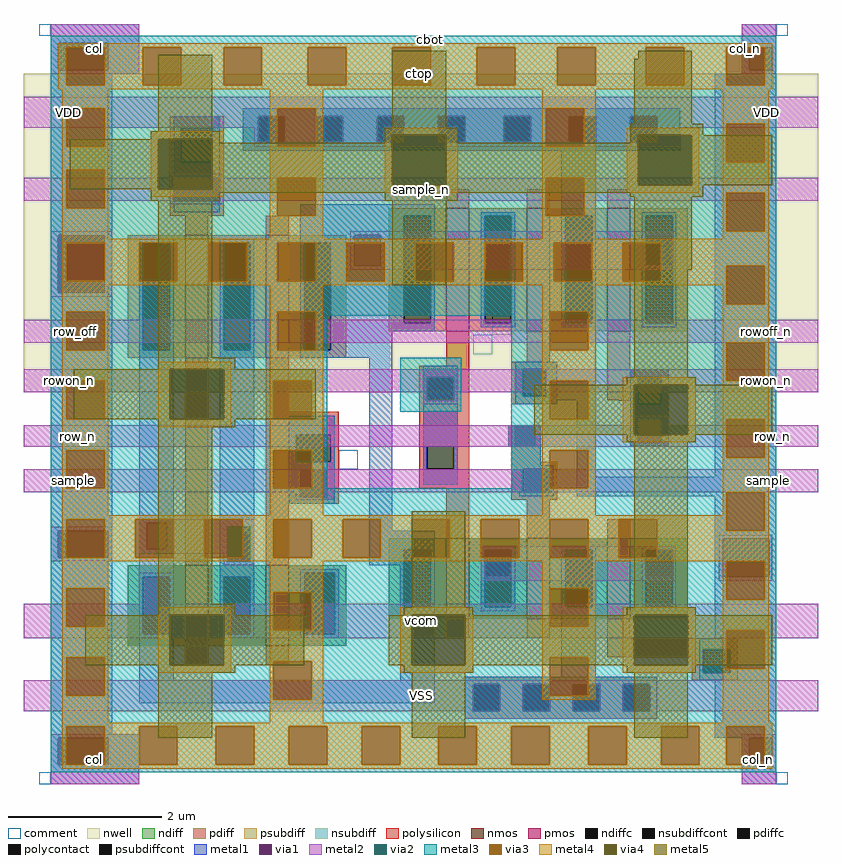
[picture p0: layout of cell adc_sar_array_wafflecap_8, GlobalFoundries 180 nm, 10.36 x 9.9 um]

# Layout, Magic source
magic
tech gf180mcuD
magscale 1 10
<< nwell >>
rect -1000 -190 1070 640
<< nmos >>
rect -580 -850 -520 -640
rect -370 -850 -310 -640
rect 100 -780 160 -570
rect 310 -780 370 -570
rect 520 -780 580 -570
<< pmos >>
rect -580 -100 -520 220
rect -370 -100 -310 220
rect 100 -30 160 290
rect 310 -30 370 290
rect 520 -30 580 290
<< ndiff >>
rect -50 -600 100 -570
rect -730 -670 -580 -640
rect -730 -820 -690 -670
rect -620 -820 -580 -670
rect -730 -850 -580 -820
rect -520 -670 -370 -640
rect -520 -820 -480 -670
rect -410 -820 -370 -670
rect -520 -850 -370 -820
rect -310 -660 -160 -640
rect -310 -820 -270 -660
rect -190 -820 -160 -660
rect -50 -750 -10 -600
rect 60 -750 100 -600
rect -50 -780 100 -750
rect 160 -600 310 -570
rect 160 -750 200 -600
rect 270 -750 310 -600
rect 160 -780 310 -750
rect 370 -600 520 -570
rect 370 -750 410 -600
rect 480 -750 520 -600
rect 370 -780 520 -750
rect 580 -600 730 -570
rect 580 -750 620 -600
rect 690 -750 730 -600
rect 580 -780 730 -750
rect -310 -850 -160 -820
<< pdiff >>
rect -50 270 100 290
rect -730 200 -580 220
rect -730 -80 -690 200
rect -620 -80 -580 200
rect -730 -100 -580 -80
rect -520 200 -370 220
rect -520 -80 -480 200
rect -410 -80 -370 200
rect -520 -100 -370 -80
rect -310 200 -160 220
rect -310 -80 -270 200
rect -200 -80 -160 200
rect -50 -10 -10 270
rect 60 -10 100 270
rect -50 -30 100 -10
rect 160 270 310 290
rect 160 -10 200 270
rect 270 -10 310 270
rect 160 -30 310 -10
rect 370 270 520 290
rect 370 -10 410 270
rect 480 -10 520 270
rect 370 -30 520 -10
rect 580 270 730 290
rect 580 -10 620 270
rect 690 -10 730 270
rect 580 -30 730 -10
rect -310 -100 -160 -80
<< ndiffc >>
rect -690 -820 -620 -670
rect -480 -820 -410 -670
rect -270 -820 -190 -660
rect -10 -750 60 -600
rect 200 -750 270 -600
rect 410 -750 480 -600
rect 620 -750 690 -600
<< pdiffc >>
rect -690 -80 -620 200
rect -480 -80 -410 200
rect -270 -80 -200 200
rect -10 -10 60 270
rect 200 -10 270 270
rect 410 -10 480 270
rect 620 -10 690 270
<< psubdiff >>
rect 150 -950 650 -930
rect 150 -1020 170 -950
rect 240 -1020 300 -950
rect 370 -1020 430 -950
rect 500 -1020 560 -950
rect 630 -1020 650 -950
rect 150 -1040 650 -1020
<< nsubdiff >>
rect -430 530 710 550
rect -430 460 -390 530
rect -320 460 -240 530
rect -170 460 -80 530
rect -10 460 80 530
rect 150 460 250 530
rect 320 460 420 530
rect 490 460 580 530
rect 650 460 710 530
rect -430 440 710 460
<< psubdiffcont >>
rect 170 -1020 240 -950
rect 300 -1020 370 -950
rect 430 -1020 500 -950
rect 560 -1020 630 -950
<< nsubdiffcont >>
rect -390 460 -320 530
rect -240 460 -170 530
rect -80 460 -10 530
rect 80 460 150 530
rect 250 460 320 530
rect 420 460 490 530
rect 580 460 650 530
<< polysilicon >>
rect -620 500 -480 530
rect -620 410 -590 500
rect -510 410 -480 500
rect -620 270 -480 410
rect 100 290 160 340
rect 310 290 370 340
rect 520 290 580 340
rect -580 220 -520 270
rect -370 220 -310 270
rect -910 70 -790 220
rect -580 -640 -520 -100
rect -370 -240 -310 -100
rect 100 -120 160 -30
rect 310 -110 370 -30
rect 30 -150 160 -120
rect 30 -210 50 -150
rect 120 -210 160 -150
rect -370 -300 -180 -240
rect -370 -370 -290 -300
rect -200 -370 -180 -300
rect -370 -480 -180 -370
rect 30 -330 160 -210
rect 270 -130 390 -110
rect 270 -200 300 -130
rect 360 -200 390 -130
rect 270 -220 390 -200
rect 520 -130 580 -30
rect 520 -150 680 -130
rect 520 -210 600 -150
rect 551 -211 600 -210
rect 580 -220 600 -211
rect 660 -220 680 -150
rect 30 -390 50 -330
rect 120 -390 160 -330
rect 262 -332 346 -276
rect 580 -330 680 -220
rect 30 -440 160 -390
rect -370 -640 -310 -480
rect 100 -570 160 -440
rect 270 -370 346 -332
rect 270 -390 390 -370
rect 270 -450 300 -390
rect 370 -450 390 -390
rect 270 -470 390 -450
rect 310 -570 370 -470
rect 520 -570 580 -520
rect 100 -830 160 -780
rect 310 -830 370 -780
rect 520 -830 580 -780
rect -580 -900 -520 -850
rect -370 -900 -310 -850
rect 520 -860 860 -830
rect 520 -880 770 -860
rect 740 -920 770 -880
rect 840 -920 860 -860
rect 740 -940 860 -920
<< polycontact >>
rect -590 410 -510 500
rect 50 -210 120 -150
rect -290 -370 -200 -300
rect 300 -200 360 -130
rect 600 -220 660 -150
rect 50 -390 120 -330
rect 300 -450 370 -390
rect 770 -920 840 -860
<< metal1 >>
rect -930 720 -700 770
rect -930 650 -910 720
rect -780 650 -700 720
rect -930 640 -700 650
rect 870 710 960 770
rect 870 650 890 710
rect 950 650 960 710
rect 870 640 960 650
rect -930 220 -770 640
rect -430 530 710 550
rect -610 500 -490 530
rect -610 410 -590 500
rect -510 410 -490 500
rect -430 460 -390 530
rect -320 460 -240 530
rect -170 460 -80 530
rect -10 460 80 530
rect 150 460 250 530
rect 320 460 420 530
rect 490 460 580 530
rect 650 460 710 530
rect -430 440 710 460
rect -610 370 -490 410
rect -610 280 -490 310
rect -930 70 -910 220
rect -790 70 -770 220
rect -280 270 70 300
rect -280 220 -10 270
rect -930 -550 -770 70
rect -930 -620 -910 -550
rect -780 -620 -770 -550
rect -700 200 -610 210
rect -700 -80 -690 200
rect -620 -80 -610 200
rect -700 -530 -610 -80
rect -700 -599 -680 -530
rect -628 -599 -610 -530
rect -700 -610 -610 -599
rect -490 200 -400 210
rect -490 -80 -480 200
rect -410 -80 -400 200
rect -490 -560 -400 -80
rect -280 200 -140 220
rect -280 -80 -270 200
rect -200 140 -140 200
rect -70 140 -10 220
rect -200 -10 -10 140
rect 60 -10 70 270
rect -200 -30 70 -10
rect 190 270 280 280
rect 190 -10 200 270
rect 270 -10 280 270
rect 190 -20 280 -10
rect 400 270 490 440
rect 400 -10 410 270
rect 480 -10 490 270
rect 400 -20 490 -10
rect 610 270 700 280
rect 610 -10 620 270
rect 690 -10 700 270
rect 610 -20 700 -10
rect -200 -80 -40 -30
rect -280 -100 -40 -80
rect -310 -300 -190 -250
rect -310 -370 -290 -300
rect -200 -370 -190 -300
rect -310 -392 -190 -370
rect -310 -463 -280 -392
rect -210 -463 -190 -392
rect -310 -480 -190 -463
rect -930 -1080 -770 -620
rect -490 -630 -470 -560
rect -418 -630 -400 -560
rect -700 -670 -610 -660
rect -700 -820 -690 -670
rect -620 -820 -610 -670
rect -700 -940 -610 -820
rect -490 -670 -400 -630
rect -100 -550 -40 -100
rect 40 -150 130 -120
rect 40 -210 50 -150
rect 120 -210 130 -150
rect 40 -330 130 -210
rect 280 -130 390 -110
rect 280 -200 300 -130
rect 360 -160 390 -130
rect 580 -150 680 -130
rect 360 -200 490 -160
rect 280 -210 490 -200
rect 280 -220 390 -210
rect 40 -390 50 -330
rect 120 -390 130 -330
rect 262 -278 346 -276
rect 262 -330 280 -278
rect 332 -330 346 -278
rect 262 -332 346 -330
rect 40 -430 130 -390
rect 270 -380 346 -332
rect 270 -390 380 -380
rect 270 -450 300 -390
rect 370 -450 380 -390
rect 290 -460 380 -450
rect 440 -410 490 -210
rect 580 -220 600 -150
rect 660 -220 680 -150
rect 580 -260 680 -220
rect 580 -320 600 -260
rect 660 -320 680 -260
rect 580 -330 680 -320
rect 800 -410 960 640
rect 440 -460 960 -410
rect -100 -600 70 -550
rect 800 -570 960 -460
rect -100 -640 -10 -600
rect -490 -820 -480 -670
rect -410 -820 -400 -670
rect -490 -830 -400 -820
rect -280 -660 -180 -650
rect -280 -820 -270 -660
rect -190 -820 -180 -660
rect -280 -830 -180 -820
rect -20 -750 -10 -640
rect 60 -750 70 -600
rect -20 -940 70 -750
rect 190 -600 280 -590
rect 190 -750 200 -600
rect 270 -750 280 -600
rect 190 -760 280 -750
rect 400 -600 490 -590
rect 400 -750 410 -600
rect 480 -750 490 -600
rect 400 -930 490 -750
rect 610 -600 700 -590
rect 610 -750 620 -600
rect 690 -750 700 -600
rect 610 -760 700 -750
rect 800 -670 820 -570
rect 940 -670 960 -570
rect 800 -830 960 -670
rect 760 -860 960 -830
rect 760 -920 770 -860
rect 840 -920 960 -860
rect -700 -1000 70 -940
rect 150 -950 650 -930
rect 760 -940 960 -920
rect 150 -1020 170 -950
rect 240 -1020 300 -950
rect 370 -1020 430 -950
rect 500 -1020 560 -950
rect 630 -1020 650 -950
rect 150 -1040 650 -1020
rect -930 -1090 -700 -1080
rect 800 -1090 960 -940
rect -930 -1160 -910 -1090
rect -780 -1160 -700 -1090
rect -930 -1210 -700 -1160
rect 870 -1150 890 -1090
rect 950 -1150 960 -1090
rect 870 -1210 960 -1150
<< via1 >>
rect -910 650 -780 720
rect 890 650 950 710
rect -390 460 -320 530
rect -240 460 -170 530
rect -80 460 -10 530
rect 80 460 150 530
rect 250 460 320 530
rect 420 460 490 530
rect 580 460 650 530
rect -610 310 -490 370
rect -910 70 -790 220
rect -910 -620 -780 -550
rect -680 -599 -628 -530
rect -140 140 -70 220
rect 620 140 690 220
rect -280 -463 -210 -392
rect -470 -630 -418 -560
rect 50 -210 120 -150
rect 280 -330 332 -278
rect 600 -320 660 -260
rect 200 -670 270 -600
rect 620 -670 690 -600
rect 820 -670 940 -570
rect 170 -1020 240 -950
rect 300 -1020 370 -950
rect 430 -1020 500 -950
rect 560 -1020 630 -950
rect -910 -1160 -780 -1090
rect 890 -1150 950 -1090
<< metal2 >>
rect -930 720 -700 770
rect -930 650 -910 720
rect -780 650 -700 720
rect -930 640 -700 650
rect 870 710 960 770
rect 870 650 890 710
rect 950 650 960 710
rect 870 640 960 650
rect -1000 530 1070 580
rect -1000 500 -390 530
rect -400 460 -390 500
rect -320 460 -240 530
rect -170 460 -80 530
rect -10 460 80 530
rect 150 460 250 530
rect 320 460 420 530
rect 490 460 580 530
rect 650 500 1070 530
rect 650 460 710 500
rect -400 450 710 460
rect -620 370 -480 380
rect -1000 310 -610 370
rect -490 310 1070 370
rect -620 300 -480 310
rect -930 220 -770 230
rect -930 70 -910 220
rect -790 70 -770 220
rect -150 220 700 230
rect -150 140 -140 220
rect -70 140 620 220
rect 690 140 700 220
rect -150 130 700 140
rect -930 60 -770 70
rect -1000 -60 1070 0
rect -1000 -150 1070 -130
rect -1000 -190 50 -150
rect 40 -210 50 -190
rect 120 -190 1070 -150
rect 120 -210 130 -190
rect 40 -220 130 -210
rect 580 -260 680 -250
rect 580 -276 600 -260
rect -1001 -278 600 -276
rect -1001 -330 280 -278
rect 332 -320 600 -278
rect 660 -276 680 -260
rect 660 -320 1069 -276
rect 332 -330 1069 -320
rect -1001 -332 1069 -330
rect -1000 -392 1070 -390
rect -1000 -450 -280 -392
rect -292 -463 -280 -450
rect -210 -450 1070 -392
rect -210 -463 -193 -450
rect -292 -470 -193 -463
rect -700 -530 -400 -520
rect -930 -550 -770 -540
rect -930 -620 -910 -550
rect -780 -620 -770 -550
rect -930 -630 -770 -620
rect -700 -599 -680 -530
rect -628 -540 -400 -530
rect -628 -599 -470 -540
rect -700 -610 -470 -599
rect -700 -740 -610 -610
rect -480 -630 -470 -610
rect -410 -630 -400 -540
rect 810 -570 950 -560
rect -480 -640 -400 -630
rect 190 -600 700 -590
rect 190 -670 200 -600
rect 270 -670 620 -600
rect 690 -670 700 -600
rect 190 -680 700 -670
rect 810 -670 820 -570
rect 940 -670 950 -570
rect 810 -680 950 -670
rect -1000 -830 1070 -740
rect -1000 -950 1070 -940
rect -1000 -1020 170 -950
rect 240 -1020 300 -950
rect 370 -1020 430 -950
rect 500 -1020 560 -950
rect 630 -1020 1070 -950
rect 150 -1040 650 -1020
rect -930 -1090 -700 -1080
rect -930 -1160 -910 -1090
rect -780 -1160 -700 -1090
rect -930 -1210 -700 -1160
rect 870 -1090 960 -1080
rect 870 -1150 890 -1090
rect 950 -1150 960 -1090
rect 870 -1210 960 -1150
<< via2 >>
rect -470 -560 -410 -540
rect -470 -630 -418 -560
rect -418 -630 -410 -560
<< metal3 >>
rect -930 710 960 740
rect -930 610 -890 710
rect -790 610 -690 710
rect -590 610 -480 710
rect -380 610 -260 710
rect -160 610 -40 710
rect 60 610 180 710
rect 280 610 390 710
rect 490 610 620 710
rect 720 610 830 710
rect 930 610 960 710
rect -930 550 960 610
rect -930 450 -890 550
rect -790 450 -340 550
rect -240 450 360 550
rect 460 510 960 550
rect 460 450 830 510
rect -930 410 830 450
rect 930 410 960 510
rect -930 390 960 410
rect -930 290 -890 390
rect -790 370 960 390
rect -790 290 -340 370
rect -930 270 -340 290
rect -240 270 360 370
rect 460 330 960 370
rect 460 270 830 330
rect -930 230 830 270
rect 930 230 960 330
rect -930 200 960 230
rect -930 100 -890 200
rect -790 100 -700 200
rect -600 100 -520 200
rect -420 100 -340 200
rect -240 100 -160 200
rect -60 100 20 200
rect 120 100 200 200
rect 300 100 380 200
rect 480 100 560 200
rect 660 140 960 200
rect 660 100 830 140
rect -930 40 830 100
rect 930 40 960 140
rect -930 20 960 40
rect -930 -80 -890 20
rect -790 -80 -340 20
rect -240 10 370 20
rect -240 -80 -210 10
rect -930 -160 -210 -80
rect 270 -80 370 10
rect 470 -60 960 20
rect 470 -80 830 -60
rect -930 -260 -890 -160
rect -790 -260 -350 -160
rect -250 -260 -210 -160
rect -20 -240 140 -100
rect 270 -160 830 -80
rect 930 -160 960 -60
rect -930 -340 -210 -260
rect -930 -440 -890 -340
rect -790 -440 -350 -340
rect -250 -440 -210 -340
rect 270 -260 370 -160
rect 470 -260 960 -160
rect 270 -340 830 -260
rect 270 -440 370 -340
rect 470 -360 830 -340
rect 930 -360 960 -260
rect 470 -440 960 -360
rect -930 -450 960 -440
rect -930 -520 830 -450
rect -930 -620 -890 -520
rect -790 -620 -710 -520
rect -610 -620 -530 -520
rect -430 -540 -350 -520
rect -410 -620 -350 -540
rect -250 -620 -170 -520
rect -70 -620 10 -520
rect 110 -620 190 -520
rect 290 -620 370 -520
rect 470 -620 550 -520
rect 650 -550 830 -520
rect 930 -550 960 -450
rect 650 -620 960 -550
rect -930 -630 -470 -620
rect -410 -630 960 -620
rect -930 -700 830 -630
rect -930 -800 -890 -700
rect -790 -710 370 -700
rect -790 -800 -350 -710
rect -930 -810 -350 -800
rect -250 -800 370 -710
rect 470 -730 830 -700
rect 930 -730 960 -630
rect 470 -800 960 -730
rect -250 -810 960 -800
rect -930 -880 830 -810
rect -930 -980 -890 -880
rect -790 -890 370 -880
rect -790 -980 -350 -890
rect -930 -990 -350 -980
rect -250 -980 370 -890
rect 470 -910 830 -880
rect 930 -910 960 -810
rect 470 -980 960 -910
rect -250 -990 960 -980
rect -930 -1060 960 -990
rect -930 -1160 -890 -1060
rect -790 -1160 -700 -1060
rect -600 -1160 -500 -1060
rect -400 -1160 -310 -1060
rect -210 -1160 -120 -1060
rect -20 -1160 80 -1060
rect 180 -1160 270 -1060
rect 370 -1160 470 -1060
rect 570 -1160 660 -1060
rect 760 -1160 830 -1060
rect 930 -1160 960 -1060
rect -930 -1180 960 -1160
<< via3 >>
rect -890 610 -790 710
rect -690 610 -590 710
rect -480 610 -380 710
rect -260 610 -160 710
rect -40 610 60 710
rect 180 610 280 710
rect 390 610 490 710
rect 620 610 720 710
rect 830 610 930 710
rect -890 450 -790 550
rect -340 450 -240 550
rect 360 450 460 550
rect 830 410 930 510
rect -890 290 -790 390
rect -340 270 -240 370
rect 360 270 460 370
rect 830 230 930 330
rect -890 100 -790 200
rect -700 100 -600 200
rect -520 100 -420 200
rect -340 100 -240 200
rect -160 100 -60 200
rect 20 100 120 200
rect 200 100 300 200
rect 380 100 480 200
rect 560 100 660 200
rect 830 40 930 140
rect -890 -80 -790 20
rect -340 -80 -240 20
rect 370 -80 470 20
rect -890 -260 -790 -160
rect -350 -260 -250 -160
rect 830 -160 930 -60
rect -890 -440 -790 -340
rect -350 -440 -250 -340
rect 370 -260 470 -160
rect 370 -440 470 -340
rect 830 -360 930 -260
rect -890 -620 -790 -520
rect -710 -620 -610 -520
rect -530 -540 -430 -520
rect -530 -620 -470 -540
rect -470 -620 -430 -540
rect -350 -620 -250 -520
rect -170 -620 -70 -520
rect 10 -620 110 -520
rect 190 -620 290 -520
rect 370 -620 470 -520
rect 550 -620 650 -520
rect 830 -550 930 -450
rect -890 -800 -790 -700
rect -350 -810 -250 -710
rect 370 -800 470 -700
rect 830 -730 930 -630
rect -890 -980 -790 -880
rect -350 -990 -250 -890
rect 370 -980 470 -880
rect 830 -910 930 -810
rect -890 -1160 -790 -1060
rect -700 -1160 -600 -1060
rect -500 -1160 -400 -1060
rect -310 -1160 -210 -1060
rect -120 -1160 -20 -1060
rect 80 -1160 180 -1060
rect 270 -1160 370 -1060
rect 470 -1160 570 -1060
rect 660 -1160 760 -1060
rect 830 -1160 930 -1060
<< metal4 >>
rect -910 710 950 720
rect -910 610 -890 710
rect -790 610 -690 710
rect -590 610 -480 710
rect -380 610 -260 710
rect -160 610 -40 710
rect 60 610 180 710
rect 280 610 390 710
rect 490 610 620 710
rect 720 610 830 710
rect 930 610 950 710
rect -910 600 950 610
rect -900 550 -780 600
rect -900 450 -890 550
rect -790 450 -780 550
rect -360 550 -220 600
rect -900 390 -780 450
rect -900 290 -890 390
rect -790 290 -780 390
rect -670 470 -480 490
rect -670 340 -650 470
rect -510 340 -480 470
rect -670 320 -480 340
rect -360 450 -340 550
rect -240 450 -220 550
rect 350 550 490 600
rect -360 370 -220 450
rect -900 210 -780 290
rect -360 270 -340 370
rect -240 270 -220 370
rect -60 480 130 500
rect -60 350 -40 480
rect 100 350 130 480
rect -60 330 130 350
rect 350 450 360 550
rect 460 450 490 550
rect 820 510 940 600
rect 350 370 490 450
rect -360 210 -220 270
rect 350 270 360 370
rect 460 270 490 370
rect 570 480 760 500
rect 570 350 600 480
rect 740 350 760 480
rect 570 330 760 350
rect 820 410 830 510
rect 930 410 940 510
rect 820 330 940 410
rect 350 210 490 270
rect 820 230 830 330
rect 930 230 940 330
rect 820 210 940 230
rect -900 200 940 210
rect -900 100 -890 200
rect -790 100 -700 200
rect -600 100 -520 200
rect -420 100 -340 200
rect -240 100 -160 200
rect -60 100 20 200
rect 120 100 200 200
rect 300 100 380 200
rect 480 100 560 200
rect 660 140 940 200
rect 660 100 830 140
rect -900 90 830 100
rect -900 20 -780 90
rect -900 -80 -890 20
rect -790 -80 -780 20
rect -900 -160 -780 -80
rect -360 20 -220 90
rect -360 -80 -340 20
rect -240 -80 -220 20
rect -900 -260 -890 -160
rect -790 -260 -780 -160
rect -900 -340 -780 -260
rect -650 -130 -460 -110
rect -650 -260 -620 -130
rect -480 -260 -460 -130
rect -650 -280 -460 -260
rect -360 -160 -220 -80
rect -360 -260 -350 -160
rect -250 -260 -220 -160
rect -900 -440 -890 -340
rect -790 -440 -780 -340
rect -900 -510 -780 -440
rect -360 -340 -220 -260
rect -360 -440 -350 -340
rect -250 -440 -220 -340
rect -360 -510 -220 -440
rect 350 20 490 90
rect 350 -80 370 20
rect 470 -80 490 20
rect 350 -160 490 -80
rect 820 40 830 90
rect 930 40 940 140
rect 820 -60 940 40
rect 350 -260 370 -160
rect 470 -260 490 -160
rect 350 -340 490 -260
rect 560 -170 750 -150
rect 560 -300 590 -170
rect 730 -300 750 -170
rect 560 -320 750 -300
rect 820 -160 830 -60
rect 930 -160 940 -60
rect 820 -260 940 -160
rect 350 -440 370 -340
rect 470 -440 490 -340
rect 350 -510 490 -440
rect 820 -360 830 -260
rect 930 -360 940 -260
rect 820 -450 940 -360
rect 820 -510 830 -450
rect -900 -520 830 -510
rect -900 -620 -890 -520
rect -790 -620 -710 -520
rect -610 -620 -530 -520
rect -430 -620 -350 -520
rect -250 -620 -170 -520
rect -70 -620 10 -520
rect 110 -620 190 -520
rect 290 -620 370 -520
rect 470 -620 550 -520
rect 650 -550 830 -520
rect 930 -550 940 -450
rect 650 -620 940 -550
rect -900 -630 940 -620
rect -900 -700 -780 -630
rect -900 -800 -890 -700
rect -790 -800 -780 -700
rect -360 -710 -220 -630
rect -900 -880 -780 -800
rect -900 -980 -890 -880
rect -790 -980 -780 -880
rect -650 -770 -460 -750
rect -650 -900 -620 -770
rect -480 -900 -460 -770
rect -650 -920 -460 -900
rect -360 -810 -350 -710
rect -250 -810 -220 -710
rect 350 -700 490 -630
rect -360 -890 -220 -810
rect -900 -1050 -780 -980
rect -360 -990 -350 -890
rect -250 -990 -220 -890
rect -20 -770 170 -750
rect -20 -900 10 -770
rect 150 -900 170 -770
rect -20 -920 170 -900
rect 350 -800 370 -700
rect 470 -800 490 -700
rect 820 -730 830 -630
rect 930 -730 940 -630
rect 350 -880 490 -800
rect 350 -980 370 -880
rect 470 -980 490 -880
rect 560 -770 750 -750
rect 560 -900 590 -770
rect 730 -900 750 -770
rect 560 -920 750 -900
rect 820 -810 940 -730
rect 820 -910 830 -810
rect 930 -910 940 -810
rect 350 -990 490 -980
rect -360 -1050 -220 -990
rect 820 -1050 940 -910
rect -900 -1060 950 -1050
rect -900 -1160 -890 -1060
rect -790 -1160 -700 -1060
rect -600 -1160 -500 -1060
rect -400 -1160 -310 -1060
rect -210 -1160 -120 -1060
rect -20 -1160 80 -1060
rect 180 -1160 270 -1060
rect 370 -1160 470 -1060
rect 570 -1160 660 -1060
rect 760 -1160 830 -1060
rect 930 -1160 950 -1060
rect -900 -1170 950 -1160
<< via4 >>
rect -650 340 -510 470
rect -40 350 100 480
rect 600 350 740 480
rect -620 -260 -480 -130
rect 590 -300 730 -170
rect -620 -900 -480 -770
rect 10 -900 150 -770
rect 590 -900 730 -770
<< metal5 >>
rect -650 490 -510 690
rect -40 500 100 700
rect 600 680 740 700
rect 590 510 740 680
rect -670 470 -490 490
rect -880 340 -650 470
rect -510 460 -490 470
rect -60 480 130 500
rect -60 460 -40 480
rect -510 350 -40 460
rect 100 460 130 480
rect 580 480 770 510
rect 580 460 600 480
rect 100 350 600 460
rect 740 350 950 480
rect -510 340 770 350
rect -670 330 770 340
rect -670 310 -490 330
rect -60 310 130 330
rect 580 320 770 330
rect -650 -100 -510 310
rect -40 90 100 310
rect 590 130 740 320
rect -650 -130 -450 -100
rect -870 -260 -620 -130
rect -480 -260 -240 -130
rect 590 -150 730 130
rect 570 -170 750 -150
rect -650 -280 -450 -260
rect -650 -740 -510 -280
rect 330 -300 590 -170
rect 730 -300 950 -170
rect 570 -320 750 -300
rect -650 -770 -450 -740
rect 10 -750 150 -500
rect 590 -750 730 -320
rect -10 -770 170 -750
rect 570 -770 750 -750
rect -840 -900 -620 -770
rect -480 -900 -270 -770
rect -50 -900 10 -770
rect 150 -900 590 -770
rect 730 -900 950 -770
rect -650 -920 -450 -900
rect -10 -920 170 -900
rect 570 -920 750 -900
rect -650 -1090 -510 -920
rect 10 -1090 150 -920
rect 590 -1090 730 -920
<< comment >>
rect -960 740 -930 770
rect 960 740 990 770
rect 220 -40 270 10
rect 170 -90 220 -40
rect -180 -390 -130 -340
rect -210 -440 -180 -390
rect -960 -1210 -930 -1180
rect 960 -1210 990 -1180
<< labels >>
flabel metal1 870 640 890 770 5 FreeSans 320 0 0 0 col_n
port 2 s
flabel metal2 -1000 500 -770 580 3 FreeSans 320 0 0 0 VDD
port 3 e
flabel metal2 800 500 1070 580 7 FreeSans 320 0 0 0 VDD
port 4 w
flabel metal2 800 -60 1070 0 0 FreeSans 320 0 0 0 rowoff_n
port 7 nsew
flabel metal2 -1000 -190 -760 -130 0 FreeSans 320 0 0 0 rowon_n
port 8 nsew
flabel metal2 800 -190 1070 -130 0 FreeSans 320 0 0 0 rowon_n
port 9 nsew
flabel metal2 -1000 -330 -720 -280 0 FreeSans 320 0 0 0 row_n
port 10 nsew
flabel metal2 830 -330 1069 -280 0 FreeSans 320 0 0 0 row_n
port 11 nsew
flabel metal2 -1000 -450 -740 -390 0 FreeSans 320 0 0 0 sample
port 12 nsew
flabel metal2 810 -450 1070 -390 0 FreeSans 320 0 0 0 sample
port 13 nsew
flabel metal2 -1000 310 1070 370 0 FreeSans 320 0 0 0 sample_n
port 14 nsew
flabel metal2 -1000 -830 1070 -740 0 FreeSans 320 0 0 0 vcom
port 15 nsew
flabel metal1 870 -1210 960 -1080 5 FreeSans 320 0 0 0 col_n
port 1 s
flabel metal2 -1000 -1020 1070 -940 0 FreeSans 320 0 0 0 VSS
port 16 nsew
flabel metal2 -930 -1210 -700 -1080 0 FreeSans 320 0 0 0 col
port 17 nsew
flabel metal2 -930 640 -700 770 0 FreeSans 320 0 0 0 col
port 18 nsew
flabel metal5 -40 580 100 700 0 FreeSans 320 0 0 0 ctop
port 19 nsew
flabel metal3 60 730 60 730 1 FreeSans 160 0 0 0 cbot
port 20 n
flabel metal2 -1000 -60 -730 0 0 FreeSans 320 0 0 0 row_off
port 21 nsew
<< end >>
